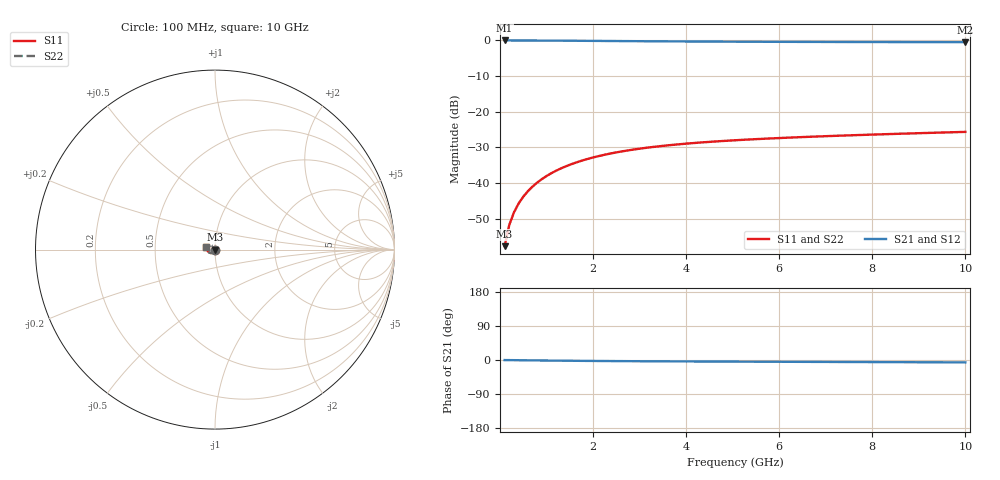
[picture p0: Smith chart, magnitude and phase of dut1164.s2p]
! Touchstone file exported from HFSS 2024.1.0
!  File:  C:/UserFiles/LocalFiles/RDL_TSV_Batchsim/temp_TSV1_1164_1780073218.aedt
!  Generated:  12:53:03 AM May 30, 2026
!  Design:  TSV1
!  Project:  temp_TSV1_1164_1780073218
!  Setup:  Setup1
!  Solution:  Sweep
! Variables:
!  dtsv = 9.21um
!  hbump = 3um
!  htsv = 98.93um
!  lrdl = 252.1521522um
!  p = 40
!  p1 = 55.41um
!  t = 500um
!  trdl = 3um
!  wrdl = 24.89489489um
# GHz S MA R 50.000000
! Terminal data exported
! Port[1] = TSV22_T1
! Port[2] = TSV22_T2
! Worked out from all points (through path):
!   100 points, 100 MHz to 10 GHz, reference 50 ohm
!   highest |S21| = 0.00 dB at 100 MHz (marker M1); lowest = -0.5 dB at 10 GHz (marker M2)
!   lowest |S11| = -57.7 dB at 100 MHz (marker M3), VSWR 1.00, Z = 50 - j0.13 ohm
!   |S11| at or under -10 dB: start of sweep to end of sweep
!   |S22| runs from -57.7 to -25.6 dB; largest |S21 - S12| = 9.4e-15
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0.1  0.001306 -83.4  0.9998 -0.1  0.9998 -0.1  0.001306 -83.4
! Gamma 0 0 0 0
! Port Impedance 50 0 50 0
0.2  0.002592 -89.5  0.9996 -0.3  0.9996 -0.3  0.002592 -89.5
0.3  0.003881 -92.9  0.9994 -0.4  0.9994 -0.4  0.003881 -92.9
0.4  0.005166 -95.6  0.999 -0.6  0.999 -0.6  0.005166 -95.6
0.5  0.006441 -98.0  0.9986 -0.7  0.9986 -0.7  0.006441 -98.0
0.6  0.007703 -100.3  0.9981 -0.9  0.9981 -0.9  0.007703 -100.3
0.7  0.008948 -102.4  0.9976 -1.0  0.9976 -1.0  0.008948 -102.4
0.8  0.01018 -104.5  0.9969 -1.1  0.9969 -1.1  0.01018 -104.5
0.9  0.01138 -106.6  0.9962 -1.3  0.9962 -1.3  0.01138 -106.6
1.1  0.01372 -110.5  0.9947 -1.5  0.9947 -1.5  0.01372 -110.5
1.4  0.01703 -116.2  0.992 -1.9  0.992 -1.9  0.01703 -116.2
1.6  0.0191 -119.8  0.99 -2.1  0.99 -2.1  0.0191 -119.8
1.8  0.02105 -123.2  0.988 -2.3  0.988 -2.3  0.02105 -123.2
2.1  0.02375 -128.2  0.9849 -2.6  0.9849 -2.6  0.02375 -128.2
2.5  0.02695 -134.3  0.9808 -2.9  0.9808 -2.9  0.02695 -134.3
2.9  0.02974 -139.9  0.9768 -3.2  0.9768 -3.2  0.02974 -139.9
3.4  0.03273 -146.3  0.9723 -3.5  0.9723 -3.5  0.03273 -146.3
4.2  0.03661 -155.3  0.9661 -3.9  0.9661 -3.9  0.03661 -155.3
5.1  0.04004 -163.9  0.9606 -4.3  0.9606 -4.3  0.04004 -163.9
6.7  0.04473 -176.5  0.9537 -5.0  0.9537 -5.0  0.04473 -176.5
8.4  0.04878 172.8  0.949 -5.7  0.949 -5.7  0.04878 172.8
10  0.05226 164.3  0.9459 -6.3  0.9459 -6.3  0.05226 164.3
